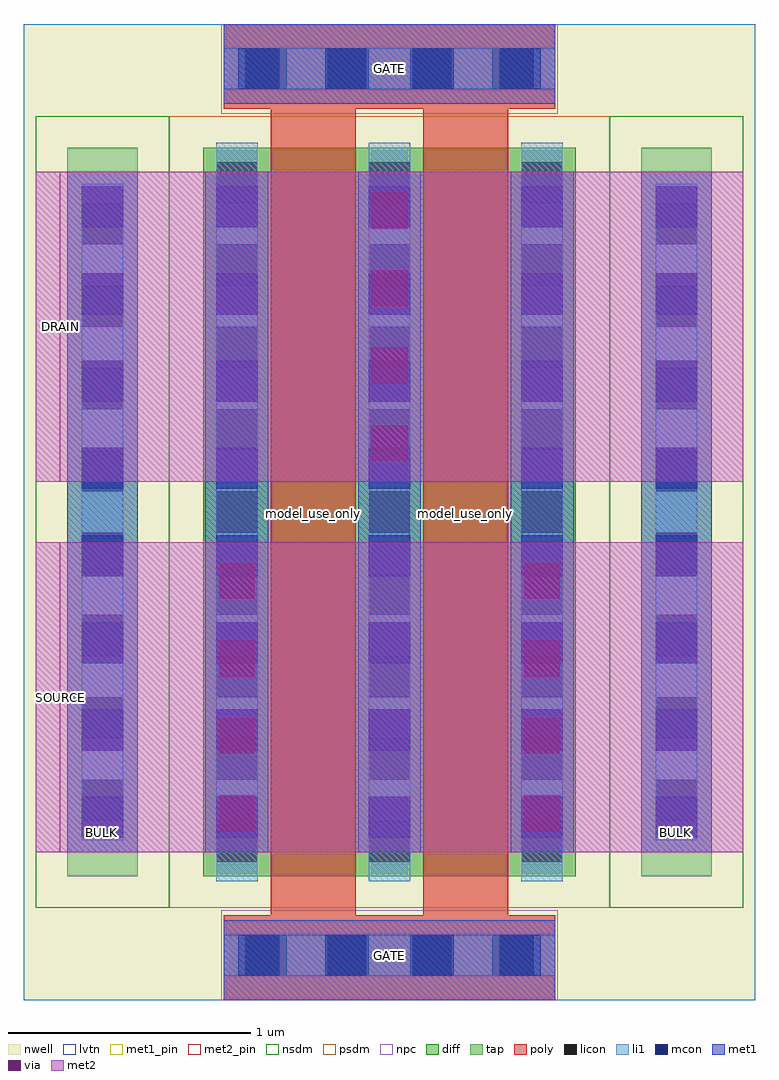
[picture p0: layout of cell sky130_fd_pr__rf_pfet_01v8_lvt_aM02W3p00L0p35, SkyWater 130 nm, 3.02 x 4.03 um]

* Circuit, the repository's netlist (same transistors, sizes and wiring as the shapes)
* Copyright 2020 The SkyWater PDK Authors
*
* Licensed under the Apache License, Version 2.0 (the "License");
* you may not use this file except in compliance with the License.
* You may obtain a copy of the License at
*
*     https://www.apache.org/licenses/LICENSE-2.0
*
* Unless required by applicable law or agreed to in writing, software
* distributed under the License is distributed on an "AS IS" BASIS,
* WITHOUT WARRANTIES OR CONDITIONS OF ANY KIND, either express or implied.
* See the License for the specific language governing permissions and
* limitations under the License.
*
* SPDX-License-Identifier: Apache-2.0


.subckt sky130_fd_pr__rf_pfet_01v8_lvt_aM02W3p00L0p35 BULK DRAIN GATE SOURCE
X0 DRAIN GATE SOURCE BULK sky130_fd_pr__pfet_01v8_lvt w=3.01e+06u l=350000u
X1 SOURCE GATE DRAIN BULK sky130_fd_pr__pfet_01v8_lvt w=3.01e+06u l=350000u
.ends

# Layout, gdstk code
import gdstk
lib = gdstk.Library(unit=1e-6, precision=1e-09)
def R(c, l, rs):  # rectangles x0, y0, x1, y1
    for r in rs: c.add(gdstk.rectangle(r[:2], r[2:], *l))
def A(c, l, x, y, w, h, nx, ny, dx, dy):  # array of equal rectangles
    R(c, l, [(x+i*dx, y+j*dy, x+i*dx+w, y+j*dy+h) for i in range(nx) for j in range(ny)])
nwell = (64, 20)
diff = (65, 20)
tap = (65, 44)
poly = (66, 20)
licon = (66, 44)
li1 = (67, 20)
mcon = (67, 44)
met1_pin = (68, 16)
met1 = (68, 20)
via = (68, 44)
met2_pin = (69, 16)
met2 = (69, 20)
nsdm = (93, 44)
psdm = (94, 20)
npc = (95, 20)
lvtn = (125, 44)

sky130_fd_pr__rf_pfet_01 = lib.new_cell('sky130_fd_pr__rf_pfet_01v8_lvt_aM02W3p00L0p35')
R(sky130_fd_pr__rf_pfet_01, nwell, [(0,0,3.02,4.03)])
R(sky130_fd_pr__rf_pfet_01, diff, [(0.74,0.51,2.28,3.52)])
R(sky130_fd_pr__rf_pfet_01, tap, [(0.18,0.51,0.47,3.52), (2.55,0.51,2.84,3.52)])
R(sky130_fd_pr__rf_pfet_01, poly, [(0.825,0,2.195,0.35), (1.02,0.35,1.37,3.68), (1.65,0.35,2,3.68), (0.825,3.68,2.195,4.03)])
A(sky130_fd_pr__rf_pfet_01, licon, 0.915, 0.1, 0.17, 0.17, 4, 2, 0.34, 3.66)
A(sky130_fd_pr__rf_pfet_01, licon, 0.795, 0.57, 0.17, 0.17, 3, 9, 0.63, 0.34)
A(sky130_fd_pr__rf_pfet_01, licon, 0.24, 0.74, 0.17, 0.17, 1, 8, 0, 0.34)
A(sky130_fd_pr__rf_pfet_01, licon, 2.61, 0.74, 0.17, 0.17, 1, 8, 0, 0.34)
A(sky130_fd_pr__rf_pfet_01, li1, 0.795, 0.49, 0.17, 3.05, 3, 1, 0.63, 0)
A(sky130_fd_pr__rf_pfet_01, li1, 0.795, 0.67, 0.17, 2.69, 3, 1, 0.63, 0)
R(sky130_fd_pr__rf_pfet_01, li1, [(0.825,0.1,2.195,0.27), (0.24,0.66,0.41,3.37), (2.61,0.66,2.78,3.37), (0.24,0.67,0.41,3.36), (2.61,0.67,2.78,3.36), (0.825,3.76,2.195,3.93)])
A(sky130_fd_pr__rf_pfet_01, mcon, 0.885, 0.1, 0.17, 0.17, 4, 2, 0.36, 3.66)
A(sky130_fd_pr__rf_pfet_01, mcon, 0.24, 0.67, 0.17, 0.17, 1, 8, 0, 0.36)
A(sky130_fd_pr__rf_pfet_01, mcon, 0.795, 0.67, 0.17, 0.17, 3, 8, 0.63, 0.36)
A(sky130_fd_pr__rf_pfet_01, mcon, 2.61, 0.67, 0.17, 0.17, 1, 8, 0, 0.36)
R(sky130_fd_pr__rf_pfet_01, met1_pin, [(0.825,0,2.195,0.33), (0.18,0.61,0.47,0.69), (2.55,0.61,2.84,0.69), (0.825,3.7,2.195,4.03)])
A(sky130_fd_pr__rf_pfet_01, met1, 0.75, 0.61, 0.26, 2.81, 3, 1, 0.63, 0)
R(sky130_fd_pr__rf_pfet_01, met1, [(0.825,0,2.195,0.33), (0.18,0.61,0.47,3.42), (0.75,0.61,1.01,1.89), (2.01,0.61,2.27,1.89), (2.55,0.61,2.84,3.42), (1.38,2.14,1.64,3.42), (0.825,3.7,2.195,4.03)])
A(sky130_fd_pr__rf_pfet_01, via, 0.805, 0.695, 0.15, 0.15, 1, 4, 0, 0.32)
A(sky130_fd_pr__rf_pfet_01, via, 2.065, 0.695, 0.15, 0.15, 1, 4, 0, 0.32)
A(sky130_fd_pr__rf_pfet_01, via, 1.435, 2.225, 0.15, 0.15, 1, 4, 0, 0.32)
R(sky130_fd_pr__rf_pfet_01, met2_pin, [(0.05,0.61,0.15,1.89), (0.05,2.14,0.15,3.42)])
R(sky130_fd_pr__rf_pfet_01, met2, [(0.05,0.61,2.97,1.89), (0.75,0.61,1.01,1.89), (2.01,0.61,2.27,1.89), (0.05,2.14,2.97,3.42), (1.38,2.14,1.64,3.42)])
R(sky130_fd_pr__rf_pfet_01, nsdm, [(0.05,0.38,0.6,3.65), (2.42,0.38,2.97,3.65)])
R(sky130_fd_pr__rf_pfet_01, psdm, [(0.6,0.38,2.42,3.65)])
R(sky130_fd_pr__rf_pfet_01, npc, [(0.815,0,2.205,0.37), (0.815,3.66,2.205,4.03)])
R(sky130_fd_pr__rf_pfet_01, lvtn, [(0,0,3.02,4.03)])
sky130_fd_pr__rf_pfet_01.add(gdstk.Label('model_use_only', (1.195,2.01), layer=66, texttype=83))
sky130_fd_pr__rf_pfet_01.add(gdstk.Label('model_use_only', (1.825,2.01), layer=66, texttype=83))
sky130_fd_pr__rf_pfet_01.add(gdstk.Label('SOURCE', (0.15,1.25), layer=69, texttype=5))
sky130_fd_pr__rf_pfet_01.add(gdstk.Label('DRAIN', (0.15,2.78), layer=69, texttype=5))
sky130_fd_pr__rf_pfet_01.add(gdstk.Label('GATE', (1.51,0.185), layer=68, texttype=5))
sky130_fd_pr__rf_pfet_01.add(gdstk.Label('GATE', (1.51,3.845), layer=68, texttype=5))
sky130_fd_pr__rf_pfet_01.add(gdstk.Label('BULK', (2.69,0.69), layer=68, texttype=5))
sky130_fd_pr__rf_pfet_01.add(gdstk.Label('BULK', (0.32,0.69), layer=68, texttype=5))

lib.write_gds('sky130_fd_pr__rf_pfet_01v8_lvt_aM02W3p00L0p35.gds')
